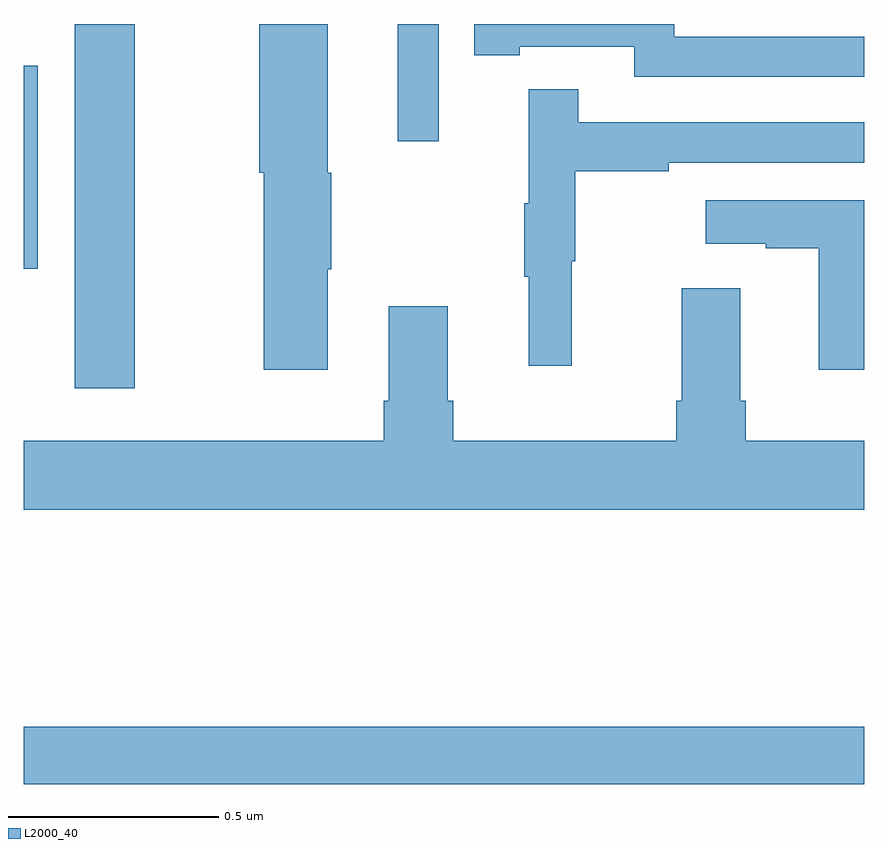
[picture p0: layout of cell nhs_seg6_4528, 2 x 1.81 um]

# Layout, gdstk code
import gdstk
lib = gdstk.Library(unit=1e-6, precision=1e-09)
def R(c, l, rs):  # rectangles x0, y0, x1, y1
    for r in rs: c.add(gdstk.rectangle(r[:2], r[2:], *l))
def P(c, l, *ps):  # polygons
    for p in ps: c.add(gdstk.Polygon(p, *l))
L2000_40 = (2000, 40)

nhs_seg6_4528 = lib.new_cell('nhs_seg6_4528')
R(nhs_seg6_4528, L2000_40, [(171,938.692,173,938.828), (171.122,939.633,171.264,940.5), (171,939.918,171.033,940.401), (171.89,940.221,171.987,940.5)])
P(nhs_seg6_4528, L2000_40, [(173,940.47),(172.548,940.47),(172.548,940.5),(172.072,940.5),(172.072,940.426),(172.18,940.426),(172.18,940.446),(172.452,940.446),(172.452,940.374),(173,940.374)],
  [(171.724,939.916),(171.732,939.916),(171.732,940.146),(171.724,940.146),(171.724,940.5),(171.56,940.5),(171.56,940.146),(171.571,940.146),(171.571,939.678),(171.724,939.678)],
  [(172.304,939.936),(172.312,939.936),(172.312,940.15),(172.535,940.15),(172.535,940.17),(173,940.17),(173,940.266),(172.319,940.266),(172.319,940.345),(172.202,940.345),(172.202,940.073),(172.191,940.073),(172.191,939.899),(172.202,939.899),(172.202,939.687),(172.304,939.687)],
  [(173,940.081),(172.623,940.081),(172.623,939.977),(172.766,939.977),(172.766,939.967),(172.892,939.967),(172.892,939.678),(173,939.678)],
  [(173,939.508),(172.718,939.508),(172.718,939.604),(172.705,939.604),(172.705,939.871),(172.565,939.871),(172.565,939.604),(172.553,939.604),(172.553,939.508),(172.022,939.508),(172.022,939.604),(172.009,939.604),(172.009,939.829),(171.869,939.829),(171.869,939.604),(171.857,939.604),(171.857,939.508),(171,939.508),(171,939.344),(173,939.344)])

lib.write_gds('nhs_seg6_4528.gds')
